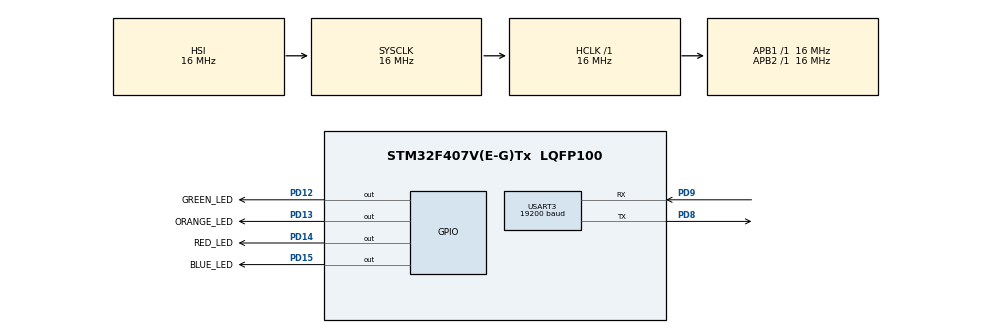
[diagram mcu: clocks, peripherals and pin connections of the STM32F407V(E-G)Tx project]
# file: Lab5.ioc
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Mcu.Family=STM32F4
Mcu.Name=STM32F407V(E-G)Tx
Mcu.Package=LQFP100
NVIC.PriorityGroup=NVIC_PRIORITYGROUP_4
NVIC.USART3_IRQn=true\:0\:0\:false\:false\:true\:true\:true\:true
PD12.GPIO_Label=GREEN_LED
PD12.Signal=GPIO_Output
PD13.GPIO_Label=ORANGE_LED
PD13.Signal=GPIO_Output
PD14.GPIO_Label=RED_LED
PD14.Signal=GPIO_Output
PD15.GPIO_Label=BLUE_LED
PD15.Signal=GPIO_Output
PD8.Mode=Asynchronous
PD8.Signal=USART3_TX
PD9.Mode=Asynchronous
PD9.Signal=USART3_RX
ProjectManager.HeapSize=0x200
ProjectManager.StackSize=0x400
ProjectManager.TargetToolchain=STM32CubeIDE
RCC.AHBFreq_Value=16000000
RCC.APB1Freq_Value=16000000
RCC.APB2Freq_Value=16000000
RCC.CortexFreq_Value=16000000
RCC.HSE_VALUE=25000000
RCC.HSI_VALUE=16000000
RCC.LSE_VALUE=32768
RCC.SYSCLKFreq_VALUE=16000000
RCC.VCOOutputFreq_Value=192000000
USART3.BaudRate=19200
USART3.VirtualMode=VM_ASYNC
board=custom

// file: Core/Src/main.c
/* USER CODE BEGIN Header */
/**
  ******************************************************************************
  * @file           : main.c
  * @brief          : Main program body
  ******************************************************************************
  * @attention
  *
  * Copyright (c) 2024 STMicroelectronics.
  * All rights reserved.
  *
  * This software is licensed under terms that can be found in the LICENSE file
  * in the root directory of this software component.
  * If no LICENSE file comes with this software, it is provided AS-IS.
  *
  ******************************************************************************
  */
/* USER CODE END Header */
#include "main.h"

/* USER CODE BEGIN PD */
typedef enum { false, true } bool;
/* USER CODE END PD */

UART_HandleTypeDef huart3;

/* USER CODE BEGIN PV */
bool BLUE_LED_PIN_SET = true;
bool ORANGE_LED_PIN_SET = true;
bool RED_LED_PIN_SET = true;
bool GREEN_LED_PIN_SET = true;
bool ALL_LED_PIN_SET = true;
/* USER CODE END PV */

void SystemClock_Config(void);
static void MX_GPIO_Init(void);
static void MX_USART3_UART_Init(void);

int main(void)
{

  /* MCU Configuration--------------------------------------------------------*/

  /* Reset of all peripherals, Initializes the Flash interface and the Systick. */
  HAL_Init();

  /* Configure the system clock */
  SystemClock_Config();

  /* Initialize all configured peripherals */
  MX_GPIO_Init();
  MX_USART3_UART_Init();

  /* Infinite loop */
  while (1)
  {

    /* USER CODE BEGIN 3 */
	  uint8_t rcvBuf[1];
	  HAL_StatusTypeDef result;

	  result = HAL_UART_Receive(&huart3,rcvBuf,1,100);
	  if(result == HAL_OK){
		  switch(rcvBuf[0]){
		  case '0':
			  if(BLUE_LED_PIN_SET == true){
				  HAL_GPIO_WritePin(GPIOD, GPIO_PIN_15, GPIO_PIN_SET);
			  	  HAL_UART_Transmit(&huart3,(uint8_t *)" - Blue ON\r\n",12,100);
			  	  BLUE_LED_PIN_SET = false;
			  }
			  else
			  {
				  HAL_GPIO_WritePin(GPIOD, GPIO_PIN_15, GPIO_PIN_RESET);
				  HAL_UART_Transmit(&huart3,(uint8_t *)" - Blue OFF\r\n",13,100);
				  BLUE_LED_PIN_SET = true;
			  }
			  break;
		  case '1':
			  if(RED_LED_PIN_SET == true){
				  HAL_GPIO_WritePin(GPIOD, GPIO_PIN_14, GPIO_PIN_SET);
			  	  HAL_UART_Transmit(&huart3,(uint8_t *)" - Red ON\r\n",11,100);
			  	RED_LED_PIN_SET = false;
			  }
			  else
			  {
				  HAL_GPIO_WritePin(GPIOD, GPIO_PIN_14, GPIO_PIN_RESET);
				  HAL_UART_Transmit(&huart3,(uint8_t *)" - Red OFF\r\n",12,100);
				  RED_LED_PIN_SET = true;
			  }

			  break;
		  case '2':
			  if(GREEN_LED_PIN_SET == true){
				  HAL_GPIO_WritePin(GPIOD, GPIO_PIN_13, GPIO_PIN_SET);
			  	  HAL_UART_Transmit(&huart3,(uint8_t *)" - Orange ON\r\n",13,100);
			  	GREEN_LED_PIN_SET = false;
			  }
			  else
			  {
				  HAL_GPIO_WritePin(GPIOD, GPIO_PIN_13, GPIO_PIN_RESET);
				  HAL_UART_Transmit(&huart3,(uint8_t *)" - Orange OFF\r\n",14,100);
				  GREEN_LED_PIN_SET = true;
			  }

			  break;
		  case '3':
			  if(ORANGE_LED_PIN_SET == true){
				  HAL_GPIO_WritePin(GPIOD, GPIO_PIN_12, GPIO_PIN_SET);
			  	  HAL_UART_Transmit(&huart3,(uint8_t *)" - Green ON\r\n",14,100);
			  	ORANGE_LED_PIN_SET = false;
			  }
			  else
			  {
				  HAL_GPIO_WritePin(GPIOD, GPIO_PIN_12, GPIO_PIN_RESET);
				  HAL_UART_Transmit(&huart3,(uint8_t *)" - Green OFF\r\n",15,100);
				  ORANGE_LED_PIN_SET = true;
			  }

			  break;
		  case '4':
			  if(ALL_LED_PIN_SET == false){
				  HAL_GPIO_WritePin(GPIOD, GPIO_PIN_15, GPIO_PIN_SET);
				  HAL_GPIO_WritePin(GPIOD, GPIO_PIN_14, GPIO_PIN_SET);
				  HAL_GPIO_WritePin(GPIOD, GPIO_PIN_13, GPIO_PIN_SET);
				  HAL_GPIO_WritePin(GPIOD, GPIO_PIN_12, GPIO_PIN_SET);
				  ORANGE_LED_PIN_SET = true;
				  GREEN_LED_PIN_SET = true;
				  RED_LED_PIN_SET = true;
				  BLUE_LED_PIN_SET = true;

			  	  HAL_UART_Transmit(&huart3,(uint8_t *)" - All LED ON\r\n",15,100);
			  	ALL_LED_PIN_SET = true;
			  }
			  else
			  {
				  HAL_GPIO_WritePin(GPIOD, GPIO_PIN_15, GPIO_PIN_RESET);
				  HAL_GPIO_WritePin(GPIOD, GPIO_PIN_14, GPIO_PIN_RESET);
				  HAL_GPIO_WritePin(GPIOD, GPIO_PIN_13, GPIO_PIN_RESET);
				  HAL_GPIO_WritePin(GPIOD, GPIO_PIN_12, GPIO_PIN_RESET);
				  ORANGE_LED_PIN_SET = false;
				  GREEN_LED_PIN_SET = false;
				  RED_LED_PIN_SET = false;
				  BLUE_LED_PIN_SET = false;
				  HAL_UART_Transmit(&huart3,(uint8_t *)" - All LED OFF\r\n",16,100);
				  ALL_LED_PIN_SET = false;
			  }

			  break;
		  default:
			  HAL_UART_Transmit(&huart3,(uint8_t *)" - UnexpCmd\r\n",13,100);
			  break;
		  	  }

		  }

  /* USER CODE END 3 */
}
}

void SystemClock_Config(void)
{
  RCC_OscInitTypeDef RCC_OscInitStruct = {0};
  RCC_ClkInitTypeDef RCC_ClkInitStruct = {0};

  /** Configure the main internal regulator output voltage
  */
  __HAL_RCC_PWR_CLK_ENABLE();
  __HAL_PWR_VOLTAGESCALING_CONFIG(PWR_REGULATOR_VOLTAGE_SCALE1);

  /** Initializes the RCC Oscillators according to the specified parameters
  * in the RCC_OscInitTypeDef structure.
  */
  RCC_OscInitStruct.OscillatorType = RCC_OSCILLATORTYPE_HSI;
  RCC_OscInitStruct.HSIState = RCC_HSI_ON;
  RCC_OscInitStruct.HSICalibrationValue = RCC_HSICALIBRATION_DEFAULT;
  RCC_OscInitStruct.PLL.PLLState = RCC_PLL_NONE;
  if (HAL_RCC_OscConfig(&RCC_OscInitStruct) != HAL_OK)
  {
    Error_Handler();
  }

  /** Initializes the CPU, AHB and APB buses clocks
  */
  RCC_ClkInitStruct.ClockType = RCC_CLOCKTYPE_HCLK|RCC_CLOCKTYPE_SYSCLK
                              |RCC_CLOCKTYPE_PCLK1|RCC_CLOCKTYPE_PCLK2;
  RCC_ClkInitStruct.SYSCLKSource = RCC_SYSCLKSOURCE_HSI;
  RCC_ClkInitStruct.AHBCLKDivider = RCC_SYSCLK_DIV1;
  RCC_ClkInitStruct.APB1CLKDivider = RCC_HCLK_DIV1;
  RCC_ClkInitStruct.APB2CLKDivider = RCC_HCLK_DIV1;

  if (HAL_RCC_ClockConfig(&RCC_ClkInitStruct, FLASH_LATENCY_0) != HAL_OK)
  {
    Error_Handler();
  }
}

static void MX_USART3_UART_Init(void)
{

  huart3.Instance = USART3;
  huart3.Init.BaudRate = 19200;
  huart3.Init.WordLength = UART_WORDLENGTH_8B;
  huart3.Init.StopBits = UART_STOPBITS_1;
  huart3.Init.Parity = UART_PARITY_NONE;
  huart3.Init.Mode = UART_MODE_TX_RX;
  huart3.Init.HwFlowCtl = UART_HWCONTROL_NONE;
  huart3.Init.OverSampling = UART_OVERSAMPLING_16;
  if (HAL_UART_Init(&huart3) != HAL_OK)
  {
    Error_Handler();
  }

}

static void MX_GPIO_Init(void)
{
  GPIO_InitTypeDef GPIO_InitStruct = {0};

  /* GPIO Ports Clock Enable */
  __HAL_RCC_GPIOD_CLK_ENABLE();

  /*Configure GPIO pin Output Level */
  HAL_GPIO_WritePin(GPIOD, GREEN_LED_Pin|ORANGE_LED_Pin|RED_LED_Pin|BLUE_LED_Pin, GPIO_PIN_RESET);

  /*Configure GPIO pins : GREEN_LED_Pin ORANGE_LED_Pin RED_LED_Pin BLUE_LED_Pin */
  GPIO_InitStruct.Pin = GREEN_LED_Pin|ORANGE_LED_Pin|RED_LED_Pin|BLUE_LED_Pin;
  GPIO_InitStruct.Mode = GPIO_MODE_OUTPUT_PP;
  GPIO_InitStruct.Pull = GPIO_NOPULL;
  GPIO_InitStruct.Speed = GPIO_SPEED_FREQ_LOW;
  HAL_GPIO_Init(GPIOD, &GPIO_InitStruct);

}

void Error_Handler(void)
{
  __disable_irq();
  while (1)
  {
  }
}
